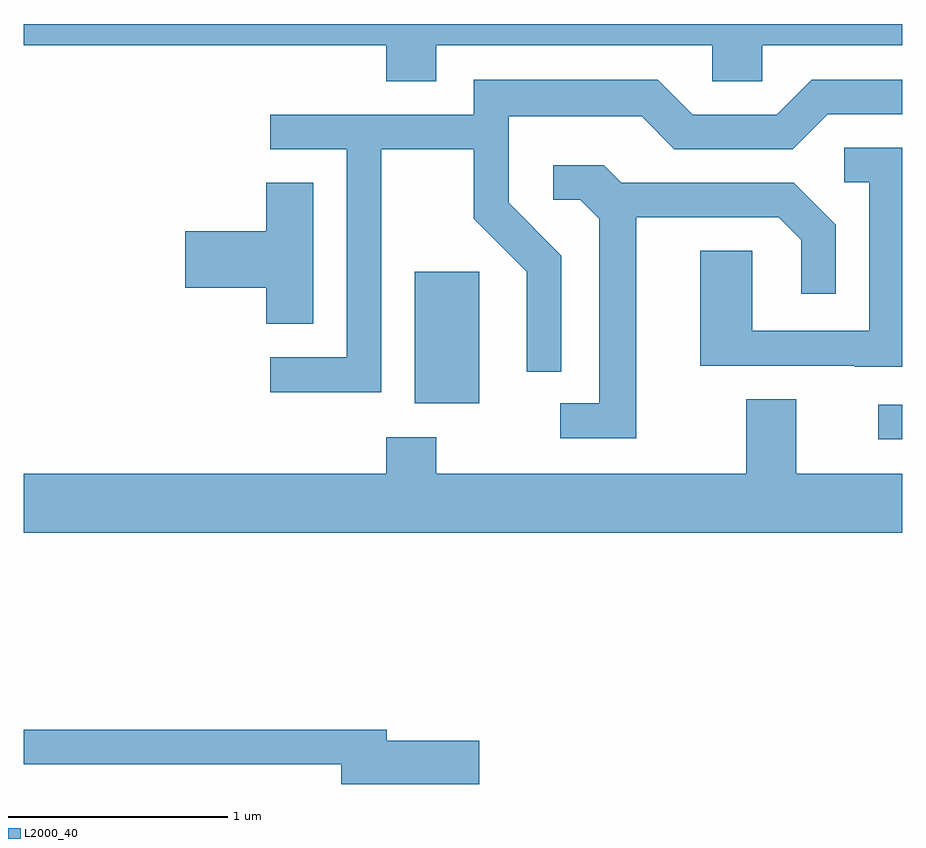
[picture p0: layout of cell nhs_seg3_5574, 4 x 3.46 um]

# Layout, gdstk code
import gdstk
lib = gdstk.Library(unit=1e-6, precision=1e-09)
def R(c, l, rs):  # rectangles x0, y0, x1, y1
    for r in rs: c.add(gdstk.rectangle(r[:2], r[2:], *l))
def P(c, l, *ps):  # polygons
    for p in ps: c.add(gdstk.Polygon(p, *l))
L2000_40 = (2000, 40)

nhs_seg3_5574 = lib.new_cell('nhs_seg3_5574')
R(nhs_seg3_5574, L2000_40, [(353.503,1122.001,353.611,1122.159), (351.391,1122.166,351.684,1122.764)])
P(nhs_seg3_5574, L2000_40, [(351.489,1123.796),(352.746,1123.796),(352.746,1123.631),(352.974,1123.631),(352.974,1123.796),(353.611,1123.796),(353.611,1123.892),(349.611,1123.892),(349.611,1123.796),(351.261,1123.796),(351.261,1123.631),(351.489,1123.631)],
  [(351.239,1123.321),(351.661,1123.321),(351.661,1123.004),(351.901,1122.764),(351.901,1122.308),(352.059,1122.308),(352.059,1122.837),(351.819,1123.077),(351.819,1123.471),(352.424,1123.471),(352.574,1123.321),(353.112,1123.321),(353.272,1123.481),(353.611,1123.481),(353.611,1123.639),(353.199,1123.639),(353.039,1123.479),(352.657,1123.479),(352.497,1123.639),(351.661,1123.639),(351.661,1123.479),(350.733,1123.479),(350.733,1123.321),(351.081,1123.321),(351.081,1122.374),(350.733,1122.374),(350.733,1122.216),(351.239,1122.216)],
  [(353.611,1123.329),(353.348,1123.329),(353.348,1123.171),(353.461,1123.171),(353.461,1122.494),(352.929,1122.494),(352.929,1122.859),(352.691,1122.859),(352.691,1122.336),(353.395,1122.336),(353.395,1122.331),(353.611,1122.331)],
  [(352.399,1123.011),(353.049,1123.011),(353.151,1122.909),(353.151,1122.663),(353.309,1122.663),(353.309,1122.977),(353.117,1123.169),(352.332,1123.169),(352.252,1123.249),(352.023,1123.249),(352.023,1123.091),(352.144,1123.091),(352.231,1123.004),(352.231,1122.164),(352.053,1122.164),(352.053,1122.006),(352.399,1122.006)],
  [(350.929,1123.169),(350.716,1123.169),(350.716,1122.949),(350.346,1122.949),(350.346,1122.691),(350.716,1122.691),(350.716,1122.526),(350.929,1122.526)],
  [(353.611,1121.844),(353.129,1121.844),(353.129,1122.184),(352.901,1122.184),(352.901,1121.844),(351.489,1121.844),(351.489,1122.009),(351.261,1122.009),(351.261,1121.844),(349.611,1121.844),(349.611,1121.576),(353.611,1121.576)],
  [(351.684,1120.629),(351.264,1120.629),(351.264,1120.679),(349.611,1120.679),(349.611,1120.521),(351.056,1120.521),(351.056,1120.431),(351.684,1120.431)])

lib.write_gds('nhs_seg3_5574.gds')
